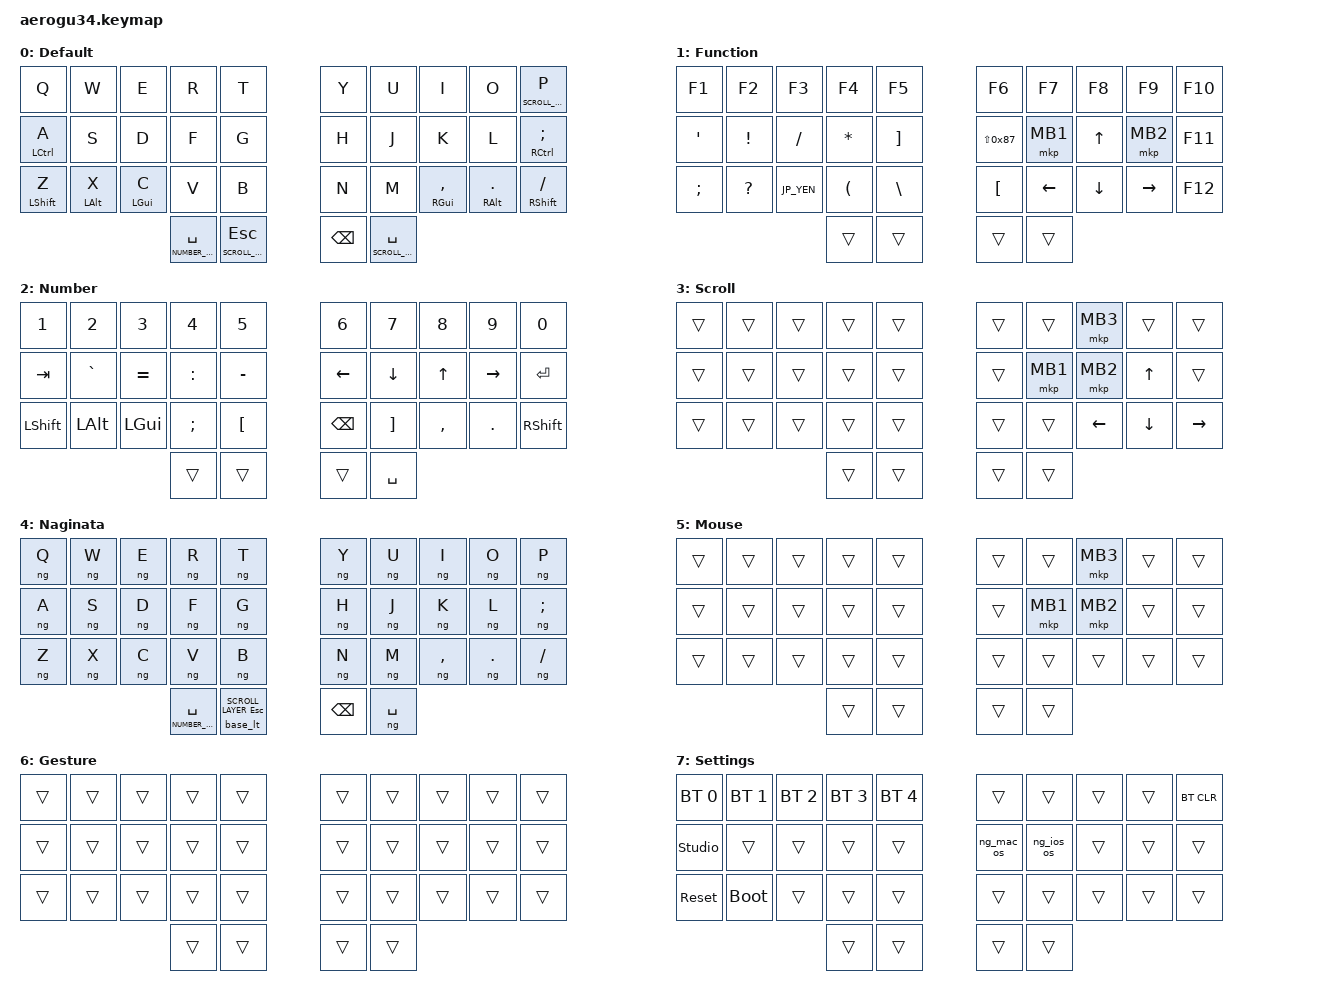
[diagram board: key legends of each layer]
#define ZMK_POINTING_DEFAULT_SCRL_VAL 200

#include <dt-bindings/zmk/mouse.h>
#include <behaviors.dtsi>
#include <dt-bindings/zmk/bt.h>
#include <dt-bindings/zmk/keys.h>
#include <dt-bindings/zmk/pointing.h>
#include <behaviors/naginata.dtsi>
#include <mouse-gesture.dtsi>
#include <dt-bindings/zmk/mouse-gesture.h>

#define FUNCTION_LAYER 1
#define NUMBER_LAYER 2
#define SCROLL_LAYER 3
#define NAGINATA_LAYER 4
#define MOUSE_LAYER 5
#define GESTURE_LAYER 6
#define SETTINGS_LAYER 7

// OS設定を日本語キーボードのまま使用するための変換定義。
// 共通レイアウトのNum層ではUS配列として扱いやすい標準keycodeを優先する。

#define JP_DQUOTE       AT
#define JP_AMPERSAND    CARET
#define JP_QUOTE        AMPERSAND
#define JP_EQUAL        UNDER
#define JP_CARET        EQUAL
#define JP_YEN          0x89
#define JP_PLUS         COLON
#define JP_TILDE        PLUS
#define JP_PIPE         LS(0x89)
#define JP_AT           LEFT_BRACKET
#define JP_COLON        SINGLE_QUOTE
#define JP_ASTERISK     DOUBLE_QUOTES
#define JP_BACKQUOTE    LEFT_BRACE
#define JP_UNDERSCORE   LS(0x87)
#define JP_LBRACKET     RIGHT_BRACKET
#define JP_RBRACKET     BACKSLASH
#define JP_LPAREN       ASTERISK
#define JP_RPAREN       LEFT_PARENTHESIS
#define JP_LBRACE       RIGHT_BRACE
#define JP_RBRACE       PIPE
#define JP_KANA         LANGUAGE_1
#define JP_EISU         LANGUAGE_2
#define JP_HANZEN       GRAVE

&mt {
    tapping-term-ms = <300>;
    flavor = "balanced";
};

&lt {
    quick-tap-ms = <300>;
};

&zip_mouse_gesture {
    enable-eager-mode;
    suppress-movement;
    stroke-size = <5>;
    movement-threshold = <6>;
    idle-timeout-ms = <100>;
    gesture-cooldown-ms = <160>;

    mission_control {
        pattern = <GESTURE_UP>;
        bindings = <&kp LC(UP_ARROW)>;
    };

    app_expose {
        pattern = <GESTURE_DOWN>;
        bindings = <&kp LC(DOWN_ARROW)>;
    };

    show_desktop {
        pattern = <GESTURE_LEFT>;
        bindings = <&kp F11>;
    };

    next_space {
        pattern = <GESTURE_RIGHT>;
        bindings = <&kp LC(RIGHT_ARROW)>;
    };
};

/ {
    macros {
        ng_on: ng_on {
            compatible = "zmk,behavior-macro";
            #binding-cells = <0>;
            bindings = <&macro_tap &kp LANGUAGE_1 &kp INTERNATIONAL_4 &to NAGINATA_LAYER>;
        };

        ng_off: ng_off {
            compatible = "zmk,behavior-macro";
            #binding-cells = <0>;
            bindings = <&macro_tap &kp LANGUAGE_2 &kp INTERNATIONAL_5 &to 0>;
        };
        
        // Named wrappers for DYA Studio: avoid raw Naginata HID numbers
        // (F16/F20) on the Settings layer.
        ng_mac_os: ng_mac_os {
            compatible = "zmk,behavior-macro";
            label = "Naginata Mac OS";
            #binding-cells = <0>;
            bindings = <&macro_tap &ng F16>;
        };

        ng_ios_os: ng_ios_os {
            compatible = "zmk,behavior-macro";
            label = "Naginata iOS";
            #binding-cells = <0>;
            bindings = <&macro_tap &ng F20>;
        };

        gesture_mode: gesture_mode {
            compatible = "zmk,behavior-macro";
            #binding-cells = <0>;
            wait-ms = <0>;
            tap-ms = <0>;
            bindings =
                <&macro_press>,
                <&mo GESTURE_LAYER>,
                <&mouse_gesture>,
                <&macro_pause_for_release>,
                <&macro_release>,
                <&mouse_gesture>,
                <&mo GESTURE_LAYER>;
        };

        // Utility layers sit below Naginata. While held, temporarily disable
        // Naginata, expose the requested utility layer, then restore Naginata.
        base_mo: base_mo {
            compatible = "zmk,behavior-macro-one-param";
            wait-ms = <0>;
            tap-ms = <0>;
            #binding-cells = <1>;
            bindings
                = <&macro_press &tog NAGINATA_LAYER>
                , <&macro_param_1to1>
                , <&macro_press &mo MACRO_PLACEHOLDER>
                , <&macro_pause_for_release>
                , <&macro_param_1to1>
                , <&macro_release &mo MACRO_PLACEHOLDER>
                , <&macro_press &tog NAGINATA_LAYER>
                ;
        };

        base_lt: base_lt {
            compatible = "zmk,behavior-macro-two-param";
            wait-ms = <0>;
            tap-ms = <0>;
            #binding-cells = <2>;
            bindings
                = <&macro_press &tog NAGINATA_LAYER>
                , <&macro_param_1to1>
                , <&macro_param_2to2>
                , <&macro_press &lt MACRO_PLACEHOLDER MACRO_PLACEHOLDER>
                , <&macro_pause_for_release>
                , <&macro_param_1to1>
                , <&macro_param_2to2>
                , <&macro_release &lt MACRO_PLACEHOLDER MACRO_PLACEHOLDER>
                , <&macro_press &tog NAGINATA_LAYER>
                ;
        };
    };

    behaviors {
        // Tap keeps Naginata's Space behavior; hold temporarily enters a
        // lower utility layer through base_mo.
        ng_lt: naginata_layer_tap {
            compatible = "zmk,behavior-hold-tap";
            #binding-cells = <2>;
            flavor = "balanced";
            tapping-term-ms = <300>;
            quick-tap-ms = <0>;
            bindings = <&base_mo>, <&ng>;
        };
    };

    combos {
        compatible = "zmk,combos";

        tab {
            bindings = <&kp TAB>;
            key-positions = <11 12>;
            layers = <0>;
        };

        stab {
            bindings = <&kp LS(TAB)>;
            key-positions = <12 13>;
            layers = <0 1 2 3 5>;
        };

        // Match Naginata's built-in V+M Enter chord on the Base layer.
        // Restrict to Base so the Naginata input processor handles its own V+M.
        base_enter_vm {
            bindings = <&kp ENTER>;
            key-positions = <23 26>; // V + M
            layers = <0>;
        };

        naginata_on {
            bindings = <&ng_on>;
            key-positions = <15 16>; // H + J
            layers = <0>;
        };

        naginata_off {
            bindings = <&ng_off>;
            key-positions = <13 14>; // F + G
            layers = <NAGINATA_LAYER>;
        };

        // Ignore the Naginata OFF combo when already in Base.
        // Without this, pressing F+G to turn Naginata off again types "fg".
        naginata_off_base_noop {
            bindings = <&none>;
            key-positions = <13 14>; // F + G
            layers = <0>;
        };

        gesture {
            timeout-ms = <50>;
            slow-release;
            bindings = <&gesture_mode>;
            key-positions = <0 1>; // Q + W
            layers = <0 NAGINATA_LAYER>;
        };

        // Hold . + / to enter Settings; release both keys to return.
        // The Base/Mouse timing is already verified on real hardware.
        settings {
            timeout-ms = <50>;
            slow-release;
            bindings = <&mo SETTINGS_LAYER>;
            key-positions = <28 29>; // . + /
            layers = <0 MOUSE_LAYER>;
        };

        // Naginata: allow a longer interval between the two presses.
        // Keep this separate to avoid changing the proven Base behavior.
        naginata_settings {
            timeout-ms = <150>;
            slow-release;
            bindings = <&mo SETTINGS_LAYER>;
            key-positions = <28 29>; // . + /
            layers = <NAGINATA_LAYER>;
        };

        lwin {
            bindings = <&kp LEFT_WIN>;
            key-positions = <20 21>;
            layers = <0 1 2 3 5>;
        };

        lalt {
            bindings = <&kp LEFT_ALT>;
            key-positions = <20 22>;
            layers = <0 1 2 3 5>;
        };

        ralt {
            bindings = <&kp RIGHT_ALT>;
            key-positions = <29 27>;
            layers = <0 1 2 3 5>;
        };
    };

    keymap {
        compatible = "zmk,keymap";

        default_layer {
            display-name = "Default";
            bindings = <
&kp Q                 &kp W              &kp E     &kp R  &kp T                                  &kp Y  &kp U  &kp I          &kp O  &lt SCROLL_LAYER P
&mt LCTRL A            &kp S              &kp D     &kp F  &kp G                                  &kp H  &kp J  &kp K          &kp L  &mt RCTRL SEMICOLON
&mt LEFT_SHIFT Z       &mt LEFT_ALT X     &mt LEFT_GUI C  &kp V  &kp B                            &kp N  &kp M  &mt RIGHT_GUI COMMA  &mt RIGHT_ALT DOT  &mt RIGHT_SHIFT SLASH
                                                &lt NUMBER_LAYER SPACE  &lt SCROLL_LAYER ESC    &kp BACKSPACE  &lt SCROLL_LAYER SPACE
            >;
        };

        function_layer {
            display-name = "Function";
            bindings = <
&kp F1         &kp F2           &kp F3      &kp F4         &kp F5                               &kp F6             &kp F7    &kp F8    &kp F9     &kp F10
&kp JP_COLON   &kp EXCLAMATION  &kp SLASH   &kp JP_LPAREN  &kp JP_LBRACKET                      &kp JP_UNDERSCORE  &mkp MB1  &kp UP    &mkp MB2   &kp F11
&kp SEMICOLON  &kp QUESTION     &kp JP_YEN  &kp JP_RPAREN  &kp JP_RBRACKET                      &kp JP_AT          &kp LEFT  &kp DOWN  &kp RIGHT  &kp F12
                                                            &trans           &trans    &trans     &trans
            >;
        };

        number_layer {
            display-name = "Number";
            bindings = <
&kp N1          &kp N2         &kp N3        &kp N4         &kp N5                              &kp N6        &kp N7        &kp N8       &kp N9       &kp N0
&kp TAB         &kp GRAVE      &kp EQUAL     &kp COLON      &kp MINUS                           &kp LEFT      &kp DOWN      &kp UP       &kp RIGHT    &kp ENTER
&kp LEFT_SHIFT  &kp LEFT_ALT   &kp LEFT_GUI  &kp SEMICOLON  &kp LEFT_BRACKET                    &kp BACKSPACE &kp RIGHT_BRACKET  &kp COMMA  &kp DOT      &kp RIGHT_SHIFT
                                                        &trans          &trans      &trans       &kp SPACE
            >;
        };

        scroll_layer {
            display-name = "Scroll";
            bindings = <
&trans  &trans  &trans  &trans  &trans                    &trans  &trans    &mkp MB3   &trans    &trans
&trans  &trans  &trans  &trans  &trans                    &trans  &mkp MB1  &mkp MB2   &kp UP    &trans
&trans  &trans  &trans  &trans  &trans                    &trans  &trans    &kp LEFT    &kp DOWN  &kp RIGHT
                                &trans  &trans    &trans  &trans
            >;
        };

        naginata_layer {
            display-name = "Naginata";
            bindings = <
&ng Q  &ng W  &ng E  &ng R  &ng T                    &ng Y  &ng U  &ng I      &ng O    &ng P
&ng A  &ng S  &ng D  &ng F  &ng G                    &ng H  &ng J  &ng K      &ng L    &ng SEMI
&ng Z  &ng X  &ng C  &ng V  &ng B                    &ng N  &ng M  &ng COMMA  &ng DOT  &ng SLASH
                &ng_lt NUMBER_LAYER SPACE  &base_lt SCROLL_LAYER ESC    &kp BACKSPACE  &ng SPACE
            >;
        };

        // Keep Auto Mouse above Naginata so I/J/K click bindings can override
        // Naginata while all transparent keys continue to fall through.
        mouse_layer {
            display-name = "Mouse";
            bindings = <
&trans  &trans  &trans  &trans  &trans                    &trans  &trans    &mkp MB3  &trans    &trans
&trans  &trans  &trans  &trans  &trans                    &trans  &mkp MB1  &mkp MB2  &trans    &trans
&trans  &trans  &trans  &trans  &trans                    &trans  &trans    &trans    &trans    &trans
                                &trans  &trans    &trans  &trans
            >;
        };

        gesture_layer {
            display-name = "Gesture";
            bindings = <
&trans  &trans  &trans  &trans  &trans                    &trans  &trans  &trans  &trans  &trans
&trans  &trans  &trans  &trans  &trans                    &trans  &trans  &trans  &trans  &trans
&trans  &trans  &trans  &trans  &trans                    &trans  &trans  &trans  &trans  &trans
                                &trans  &trans  &trans  &trans
            >;
        };

        settings_layer {
            display-name = "Settings";
            bindings = <
&bt BT_SEL 0   &bt BT_SEL 1   &bt BT_SEL 2   &bt BT_SEL 3   &bt BT_SEL 4      &trans  &trans  &trans  &trans  &bt BT_CLR
&studio_unlock &trans         &trans         &trans         &trans               &ng_mac_os &ng_ios_os &trans  &trans  &trans
&sys_reset     &bootloader    &trans         &trans         &trans               &trans  &trans  &trans  &trans  &trans
                                              &trans  &trans  &trans  &trans
            >;
        };
    };
};
